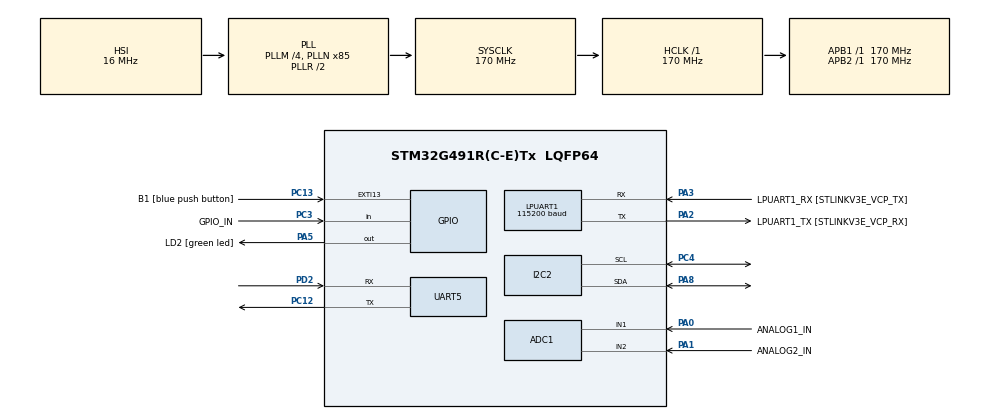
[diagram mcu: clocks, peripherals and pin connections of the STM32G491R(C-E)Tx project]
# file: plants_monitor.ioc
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ADC1.Channel-0\#ChannelRegularConversion=ADC_CHANNEL_1
ADC1.NbrOfConversionFlag=1
ADC1.OffsetNumber-0\#ChannelRegularConversion=ADC_OFFSET_NONE
ADC1.Rank-0\#ChannelRegularConversion=1
ADC1.SamplingTime-0\#ChannelRegularConversion=ADC_SAMPLETIME_92CYCLES_5
ADC1.master=1
FREERTOS.BinarySemaphores01=UART_Semaphore,Dynamic,NULL;ADC_Semaphore,Dynamic,NULL
FREERTOS.Queues01=queueToUART,16,SensorData,0,Dynamic,NULL,NULL;queueToInfo,16,SensorData,0,Dynamic,NULL,NULL
FREERTOS.Tasks01=sensAnalog01,24,128,sensAnalog01Task,Default,NULL,Dynamic,NULL,NULL;sensUART,39,128,sensUARTTask,Default,NULL,Dynamic,NULL,NULL;sensI2C,24,128,sensI2CTask,Default,NULL,Dynamic,NULL,NULL;sensAnalog02,8,128,sensAnalog02Task,Default,NULL,Dynamic,NULL,NULL;infoTask,24,128,StartInfoTask,Default,NULL,Dynamic,NULL,NULL;sensGPIO,24,128,sensGPIOTask,Default,NULL,Dynamic,NULL,NULL
FREERTOS.configTOTAL_HEAP_SIZE=6444
FREERTOS.configUSE_NEWLIB_REENTRANT=1
I2C2.Timing=0x30A0A7FB
LPUART1.BaudRate=115200
LPUART1.WordLength=UART_WORDLENGTH_8B
Mcu.Family=STM32G4
Mcu.Name=STM32G491R(C-E)Tx
Mcu.Package=LQFP64
NVIC.ADC1_2_IRQn=true\:5\:0\:false\:false\:true\:true\:true\:true\:true
NVIC.EXTI15_10_IRQn=true\:5\:0\:false\:false\:true\:true\:true\:true\:true
NVIC.PriorityGroup=NVIC_PRIORITYGROUP_4
NVIC.TIM1_UP_TIM16_IRQn=true\:15\:0\:false\:false\:true\:false\:false\:true\:true
NVIC.TimeBase=TIM1_UP_TIM16_IRQn
NVIC.TimeBaseIP=TIM1
PA0.GPIO_Label=ANALOG1_IN
PA0.Mode=IN1-Single-Ended
PA0.Signal=ADC1_IN1
PA1.GPIO_Label=ANALOG2_IN
PA1.Mode=IN2-Single-Ended
PA1.Signal=ADC1_IN2
PA13.GPIO_Label=T_SWDIO
PA13.Mode=Serial_Wire
PA13.Signal=SYS_JTMS-SWDIO
PA14.GPIO_Label=T_SWCLK
PA14.Mode=Serial_Wire
PA14.Signal=SYS_JTCK-SWCLK
PA2.GPIO_Label=LPUART1_TX [STLINKV3E_VCP_RX]
PA2.Mode=Asynchronous
PA2.Signal=LPUART1_TX
PA3.GPIO_Label=LPUART1_RX [STLINKV3E_VCP_TX]
PA3.Mode=Asynchronous
PA3.Signal=LPUART1_RX
PA5.GPIO_Label=LD2 [green led]
PA5.Signal=GPIO_Output
PA8.Mode=I2C
PA8.Signal=I2C2_SDA
PB3.GPIO_Label=T_SWO
PB3.Signal=SYS_JTDO-SWO
PC12.Mode=Asynchronous
PC12.Signal=UART5_TX
PC13.GPIO_Label=B1 [blue push button]
PC13.Signal=GPXTI13
PC14-OSC32_IN.Mode=LSE-External-Oscillator
PC14-OSC32_IN.Signal=RCC_OSC32_IN
PC15-OSC32_OUT.Mode=LSE-External-Oscillator
PC15-OSC32_OUT.Signal=RCC_OSC32_OUT
PC3.GPIO_Label=GPIO_IN
PC3.Signal=GPIO_Input
PC4.Mode=I2C
PC4.Signal=I2C2_SCL
PD2.Mode=Asynchronous
PD2.Signal=UART5_RX
PF0-OSC_IN.Mode=HSE-External-Oscillator
PF0-OSC_IN.Signal=RCC_OSC_IN
PF1-OSC_OUT.Mode=HSE-External-Oscillator
PF1-OSC_OUT.Signal=RCC_OSC_OUT
ProjectManager.HeapSize=0x200
ProjectManager.StackSize=0x400
ProjectManager.TargetToolchain=STM32CubeIDE
RCC.ADC12Freq_Value=170000000
RCC.ADC345Freq_Value=170000000
RCC.AHBFreq_Value=170000000
RCC.APB1Freq_Value=170000000
RCC.APB1TimFreq_Value=170000000
RCC.APB2Freq_Value=170000000
RCC.APB2TimFreq_Value=170000000
RCC.CortexFreq_Value=170000000
RCC.EXTERNAL_CLOCK_VALUE=12288000
RCC.HCLKFreq_Value=170000000
RCC.HSE_VALUE=24000000
RCC.HSI48_VALUE=48000000
RCC.HSI_VALUE=16000000
RCC.PLLM=RCC_PLLM_DIV4
RCC.PLLN=85
RCC.RTCClockSelection=RCC_RTCCLKSOURCE_LSE
RCC.SYSCLKFreq_VALUE=170000000
RCC.SYSCLKSource=RCC_SYSCLKSOURCE_PLLCLK
RCC.USBFreq_Value=48000000
RCC.VCOOutputFreq_Value=340000000
TIM6.PeriodNoDither=169
VP_FREERTOS_VS_CMSIS_V2.Mode=CMSIS_V2
VP_SYS_VS_DBSignals.Mode=DisableDeadBatterySignals
VP_SYS_VS_tim1.Mode=TIM1
VP_TIM6_VS_ClockSourceINT.Mode=Enable_Timer
board=NUCLEO-G491RE

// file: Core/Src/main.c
/* USER CODE BEGIN Header */
/**
  ******************************************************************************
  * @file           : main.c
  * @brief          : Main program body
  ******************************************************************************
  * @attention
  *
  * Copyright (c) 2024 STMicroelectronics.
  * All rights reserved.
  *
  * This software is licensed under terms that can be found in the LICENSE file
  * in the root directory of this software component.
  * If no LICENSE file comes with this software, it is provided AS-IS.
  *
  ******************************************************************************
  */
/* USER CODE END Header */
#include "main.h"
#include "cmsis_os.h"
#include "adc.h"
#include "i2c.h"
#include "usart.h"
#include "tim.h"
#include "gpio.h"

/* USER CODE BEGIN Includes */
#include "bmp280.h"
/* USER CODE END Includes */

/* USER CODE BEGIN PD */
#define BMP280_ADDRESS 0x76
/* USER CODE END PD */

/* USER CODE BEGIN PV */
BMP280_t Bmp280;
/* USER CODE END PV */

void SystemClock_Config(void);
void MX_FREERTOS_Init(void);

int main(void)
{

  /* MCU Configuration--------------------------------------------------------*/

  /* Reset of all peripherals, Initializes the Flash interface and the Systick. */
  HAL_Init();

  /* Configure the system clock */
  SystemClock_Config();

  /* Initialize all configured peripherals */
  MX_GPIO_Init();
  MX_LPUART1_UART_Init();
  MX_ADC1_Init();
  MX_UART5_Init();
  MX_TIM6_Init();
  MX_I2C2_Init();
  /* USER CODE BEGIN 2 */
  BMP280_Init(&Bmp280, &hi2c2, BMP280_ADDRESS);
  /* USER CODE END 2 */

  /* Init scheduler */
  osKernelInitialize();

  /* Call init function for freertos objects (in freertos.c) */
  MX_FREERTOS_Init();

  /* Start scheduler */
  osKernelStart();

  /* We should never get here as control is now taken by the scheduler */
  /* Infinite loop */
  while (1)
  {

  }
}

void SystemClock_Config(void)
{
  RCC_OscInitTypeDef RCC_OscInitStruct = {0};
  RCC_ClkInitTypeDef RCC_ClkInitStruct = {0};

  /** Configure the main internal regulator output voltage
  */
  HAL_PWREx_ControlVoltageScaling(PWR_REGULATOR_VOLTAGE_SCALE1_BOOST);

  /** Initializes the RCC Oscillators according to the specified parameters
  * in the RCC_OscInitTypeDef structure.
  */
  RCC_OscInitStruct.OscillatorType = RCC_OSCILLATORTYPE_HSI;
  RCC_OscInitStruct.HSIState = RCC_HSI_ON;
  RCC_OscInitStruct.HSICalibrationValue = RCC_HSICALIBRATION_DEFAULT;
  RCC_OscInitStruct.PLL.PLLState = RCC_PLL_ON;
  RCC_OscInitStruct.PLL.PLLSource = RCC_PLLSOURCE_HSI;
  RCC_OscInitStruct.PLL.PLLM = RCC_PLLM_DIV4;
  RCC_OscInitStruct.PLL.PLLN = 85;
  RCC_OscInitStruct.PLL.PLLP = RCC_PLLP_DIV2;
  RCC_OscInitStruct.PLL.PLLQ = RCC_PLLQ_DIV2;
  RCC_OscInitStruct.PLL.PLLR = RCC_PLLR_DIV2;
  if (HAL_RCC_OscConfig(&RCC_OscInitStruct) != HAL_OK)
  {
    Error_Handler();
  }

  /** Initializes the CPU, AHB and APB buses clocks
  */
  RCC_ClkInitStruct.ClockType = RCC_CLOCKTYPE_HCLK|RCC_CLOCKTYPE_SYSCLK
                              |RCC_CLOCKTYPE_PCLK1|RCC_CLOCKTYPE_PCLK2;
  RCC_ClkInitStruct.SYSCLKSource = RCC_SYSCLKSOURCE_PLLCLK;
  RCC_ClkInitStruct.AHBCLKDivider = RCC_SYSCLK_DIV1;
  RCC_ClkInitStruct.APB1CLKDivider = RCC_HCLK_DIV1;
  RCC_ClkInitStruct.APB2CLKDivider = RCC_HCLK_DIV1;

  if (HAL_RCC_ClockConfig(&RCC_ClkInitStruct, FLASH_LATENCY_4) != HAL_OK)
  {
    Error_Handler();
  }
}

void HAL_TIM_PeriodElapsedCallback(TIM_HandleTypeDef *htim)
{
  if (htim->Instance == TIM1) {
    HAL_IncTick();
  }
}

void Error_Handler(void)
{
  __disable_irq();
  while (1)
  {
  }
}

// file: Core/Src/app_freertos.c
/* USER CODE BEGIN Header */
/**
  ******************************************************************************
  * File Name          : app_freertos.c
  * Description        : Code for freertos applications
  ******************************************************************************
  * @attention
  *
  * Copyright (c) 2024 STMicroelectronics.
  * All rights reserved.
  *
  * This software is licensed under terms that can be found in the LICENSE file
  * in the root directory of this software component.
  * If no LICENSE file comes with this software, it is provided AS-IS.
  *
  ******************************************************************************
  */
/* USER CODE END Header */

#include "FreeRTOS.h"
#include "task.h"
#include "main.h"
#include "cmsis_os.h"

/* USER CODE BEGIN Includes */
#include "usart.h"
#include "printf.h"
#include "adc.h"
#include "bmp280.h"
/* USER CODE END Includes */

/* USER CODE BEGIN PTD */
typedef struct
{
uint8_t id; 	//Value used to identify which task has sent data
uint32_t data;  //Data e.g. from sensor
} SensorData;
/* USER CODE END PTD */

/* USER CODE BEGIN PD */
#define MOISTURE_SENSOR_TASK_ID 1
#define MOISTURE_MIN 500
#define MOISTURE_MAX 2000

#define BMP280_TASK_ID 2
#define TEMPERATURE_MIN 15
#define TEMPERATURE_MAX 50

#define INSOLATION_TASK_ID 3

#define RAIN_DETECTION_TASK_ID 4

/* USER CODE END PD */

/* USER CODE BEGIN Variables */
extern BMP280_t Bmp280;

/* USER CODE END Variables */
/* Definitions for sensAnalog01 */
osThreadId_t sensAnalog01Handle;
const osThreadAttr_t sensAnalog01_attributes = {
  .name = "sensAnalog01",
  .priority = (osPriority_t) osPriorityNormal,
  .stack_size = 128 * 4
};
/* Definitions for sensUART */
osThreadId_t sensUARTHandle;
const osThreadAttr_t sensUART_attributes = {
  .name = "sensUART",
  .priority = (osPriority_t) osPriorityAboveNormal7,
  .stack_size = 128 * 4
};
/* Definitions for sensI2C */
osThreadId_t sensI2CHandle;
const osThreadAttr_t sensI2C_attributes = {
  .name = "sensI2C",
  .priority = (osPriority_t) osPriorityNormal,
  .stack_size = 128 * 4
};
/* Definitions for sensAnalog02 */
osThreadId_t sensAnalog02Handle;
const osThreadAttr_t sensAnalog02_attributes = {
  .name = "sensAnalog02",
  .priority = (osPriority_t) osPriorityLow,
  .stack_size = 128 * 4
};
/* Definitions for infoTask */
osThreadId_t infoTaskHandle;
const osThreadAttr_t infoTask_attributes = {
  .name = "infoTask",
  .priority = (osPriority_t) osPriorityNormal,
  .stack_size = 128 * 4
};
/* Definitions for sensGPIO */
osThreadId_t sensGPIOHandle;
const osThreadAttr_t sensGPIO_attributes = {
  .name = "sensGPIO",
  .priority = (osPriority_t) osPriorityNormal,
  .stack_size = 128 * 4
};
/* Definitions for queueToUART */
osMessageQueueId_t queueToUARTHandle;
const osMessageQueueAttr_t queueToUART_attributes = {
  .name = "queueToUART"
};
/* Definitions for queueToInfo */
osMessageQueueId_t queueToInfoHandle;
const osMessageQueueAttr_t queueToInfo_attributes = {
  .name = "queueToInfo"
};
/* Definitions for UART_Semaphore */
osSemaphoreId_t UART_SemaphoreHandle;
const osSemaphoreAttr_t UART_Semaphore_attributes = {
  .name = "UART_Semaphore"
};
/* Definitions for ADC_Semaphore */
osSemaphoreId_t ADC_SemaphoreHandle;
const osSemaphoreAttr_t ADC_Semaphore_attributes = {
  .name = "ADC_Semaphore"
};

/* USER CODE BEGIN FunctionPrototypes */
uint32_t readADCData(ADC_HandleTypeDef _adcHandle)
{
	uint32_t analogReadValue;

	HAL_ADC_Start(&_adcHandle);
	if(HAL_ADC_PollForConversion(&_adcHandle, 1000)==HAL_OK)
		analogReadValue = (uint32_t) HAL_ADC_GetValue(&_adcHandle);

	HAL_ADC_Stop(&_adcHandle);

	return analogReadValue;
}

void SetChannel(uint32_t Channel)
{
	  ADC_ChannelConfTypeDef sConfig = {0};

	  /** Configure Regular Channel
	    */
	    sConfig.Channel = Channel;
	    sConfig.Rank = ADC_REGULAR_RANK_1;
	    sConfig.SamplingTime = ADC_SAMPLETIME_2CYCLES_5;
	    sConfig.SingleDiff = ADC_SINGLE_ENDED;
	    sConfig.OffsetNumber = ADC_OFFSET_NONE;
	    sConfig.Offset = 0;
	    if (HAL_ADC_ConfigChannel(&hadc1, &sConfig) != HAL_OK)
	    {
	      Error_Handler();
	    }
}

/* USER CODE END FunctionPrototypes */

void sensAnalog01Task(void *argument);
void sensUARTTask(void *argument);
void sensI2CTask(void *argument);
void sensAnalog02Task(void *argument);
void StartInfoTask(void *argument);
void sensGPIOTask(void *argument);

void MX_FREERTOS_Init(void); /* (MISRA C 2004 rule 8.1) */

void MX_FREERTOS_Init(void) {

  /* Create the semaphores(s) */
  /* creation of UART_Semaphore */
  UART_SemaphoreHandle = osSemaphoreNew(1, 0, &UART_Semaphore_attributes);

  /* creation of ADC_Semaphore */
  ADC_SemaphoreHandle = osSemaphoreNew(1, 0, &ADC_Semaphore_attributes);

  /* Create the queue(s) */
  /* creation of queueToUART */
  queueToUARTHandle = osMessageQueueNew (16, sizeof(SensorData), &queueToUART_attributes);

  /* creation of queueToInfo */
  queueToInfoHandle = osMessageQueueNew (16, sizeof(SensorData), &queueToInfo_attributes);

  /* Create the thread(s) */
  /* creation of sensAnalog01 */
  sensAnalog01Handle = osThreadNew(sensAnalog01Task, NULL, &sensAnalog01_attributes);

  /* creation of sensUART */
  sensUARTHandle = osThreadNew(sensUARTTask, NULL, &sensUART_attributes);

  /* creation of sensI2C */
  sensI2CHandle = osThreadNew(sensI2CTask, NULL, &sensI2C_attributes);

  /* creation of sensAnalog02 */
  sensAnalog02Handle = osThreadNew(sensAnalog02Task, NULL, &sensAnalog02_attributes);

  /* creation of infoTask */
  infoTaskHandle = osThreadNew(StartInfoTask, NULL, &infoTask_attributes);

  /* creation of sensGPIO */
  sensGPIOHandle = osThreadNew(sensGPIOTask, NULL, &sensGPIO_attributes);

}

void sensAnalog01Task(void *argument)
{
  /* USER CODE BEGIN sensAnalog01Task */
	// Dirt Moisture sensor
	SensorData analog1task =	{	.id = MOISTURE_SENSOR_TASK_ID, .data = 123};

  /* Infinite loop */
  for(;;)
  {
	  osSemaphoreAcquire(ADC_SemaphoreHandle, 100);
	  SetChannel(ADC_CHANNEL_1);
	  analog1task.data = readADCData(hadc1);
	  osSemaphoreRelease(ADC_SemaphoreHandle);

	  osMessageQueuePut(queueToUARTHandle, (SensorData*)&analog1task, 0, osWaitForever);
	  osMessageQueuePut(queueToInfoHandle, (SensorData*)&analog1task, 0, osWaitForever);
	  osDelay(10000);
  }
  /* USER CODE END sensAnalog01Task */
}

void sensUARTTask(void *argument)
{
  /* USER CODE BEGIN sensUARTTask */
	SensorData receivedData;
  /* Infinite loop */
  for(;;)
  {
	if(osOK == osMessageQueueGet(queueToUARTHandle, (SensorData*)&receivedData, 0, osWaitForever))
	{
		printf("%d:%d \n \r", receivedData.id, receivedData.data);
	}
  }
  /* USER CODE END sensUARTTask */
}

void sensI2CTask(void *argument)
{
  /* USER CODE BEGIN sensI2CTask */
	//Bmp280 - pressure and temperature sensor
	extern BMP280_t Bmp280;
	float Temp, Pressure;
	SensorData i2ctask = {.id = BMP280_TASK_ID, .data = 0};

  /* Infinite loop */
  for(;;)
  {
	BMP280_ReadPressureAndTemperature(&Bmp280, &Pressure, &Temp);
	i2ctask.data = Pressure;
	osMessageQueuePut(queueToUARTHandle, (SensorData*)&i2ctask, 0, osWaitForever);
	i2ctask.data = Temp;
	osMessageQueuePut(queueToUARTHandle, (SensorData*)&i2ctask, 0, osWaitForever);
	osMessageQueuePut(queueToInfoHandle, (SensorData*)&i2ctask, 0, osWaitForever);

	osDelay(10000);
  }
  /* USER CODE END sensI2CTask */
}

void sensAnalog02Task(void *argument)
{
  /* USER CODE BEGIN sensAnalog02Task */
	// Insolation sensor
	SensorData analog2task =	{.id = INSOLATION_TASK_ID, .data = 0	};

  /* Infinite loop */
  for(;;)
  {
	  osSemaphoreAcquire(ADC_SemaphoreHandle, 100);
	  SetChannel(ADC_CHANNEL_2);
	  analog2task.data = readADCData(hadc1);
	  osSemaphoreRelease(ADC_SemaphoreHandle);

	  osMessageQueuePut(queueToUARTHandle, (SensorData*)&analog2task, 0, osWaitForever);
	  osDelay(10000);
  }
  /* USER CODE END sensAnalog02Task */
}

void StartInfoTask(void *argument)
{
  /* USER CODE BEGIN StartInfoTask */
	SensorData infoData;
  /* Infinite loop */
  for(;;)
  {
	if(osOK == osMessageQueueGet(queueToInfoHandle, (SensorData*)&infoData, 0, osWaitForever))
	  	{
	  		//printf("\n%d:%d \n \r", infoData.id, receivedData.data);
			switch(infoData.id)
			{
			case BMP280_TASK_ID:
							//Because SensorData type has only one data field, measures temperature and pressure are contantly
							//overwriting .data. This is the way to determine whether the current data is temperature (usually below 50 Celcius degrees) or atmosperic pressure.
							if (infoData.data >= 100){
								break;}

							if(infoData.data > TEMPERATURE_MAX)
								printf("Too hot\n \r");
							else if (infoData.data < TEMPERATURE_MIN) {
								printf("Too cold\n \r");
							}
							else {
								printf("Optimal temperature\n \r");
							}
							break;

			case MOISTURE_SENSOR_TASK_ID:
				if(infoData.data > MOISTURE_MAX)
					printf("Dirt too wet\n \r");
				else if (infoData.data < MOISTURE_MIN) {
					printf("Dirt too dry\n \r");
				}
				else {
					printf("Dirt is moist enough\n \r");
				}
				break;

			case RAIN_DETECTION_TASK_ID:
				if(infoData.data == GPIO_PIN_SET)
					printf("It is raining\n \r");

			default:
				//I have noticed that with semaphore on uart at least 2 tasks must use printf.
				printf("");
				break;
			}

	  	}
    osDelay(2000);
  }
  /* USER CODE END StartInfoTask */
}

void sensGPIOTask(void *argument)
{
  /* USER CODE BEGIN sensGPIOTask */
	SensorData gpiotask =
		{
				.id = RAIN_DETECTION_TASK_ID,
				.data = 0
		};
  /* Infinite loop */
  for(;;)
  {
	 gpiotask.data = (uint32_t)HAL_GPIO_ReadPin(GPIO_IN_GPIO_Port, GPIO_IN_Pin);

	 osMessageQueuePut(queueToUARTHandle, (SensorData*)&gpiotask, 0, osWaitForever);
	 osDelay(5000);
  }
  /* USER CODE END sensGPIOTask */
}

/* USER CODE BEGIN Application */
void _putchar(char character)
{
  // send char to console etc.
	osSemaphoreAcquire(UART_SemaphoreHandle, 100);
	HAL_UART_Transmit(&hlpuart1, (uint8_t*) &character, 1, 1000); //for debug only
	//HAL_UART_Transmit(&huart5, (uint8_t*) &character, 1, 1000);
	osSemaphoreRelease(UART_SemaphoreHandle);
}
/* USER CODE END Application */
